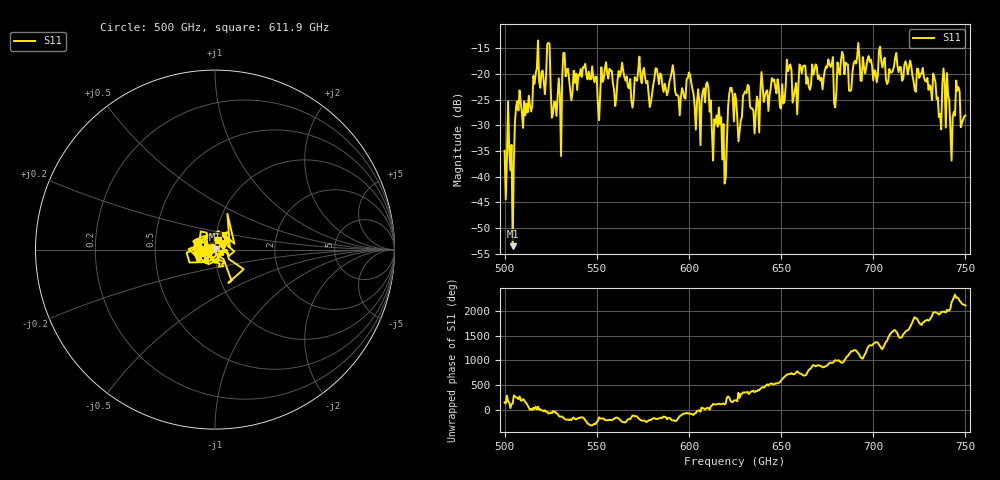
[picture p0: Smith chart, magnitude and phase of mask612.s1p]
!Created with skrf (http://scikit-rf.org).
# GHz S MA R 50.0
!freq magS11 angS11
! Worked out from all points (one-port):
!   401 points, 500 GHz to 750 GHz, reference 50 ohm
!   lowest |S11| = -53.5 dB at 504.4 GHz (marker M1), VSWR 1.00, Z = 49.9 + j0.157 ohm
!   |S11| at or under -10 dB: start of sweep to end of sweep
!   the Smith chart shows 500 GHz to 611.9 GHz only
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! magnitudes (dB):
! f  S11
! 500 GHz  -35.0
! 504.4 GHz  -53.5
! 506.9 GHz  -25.3
! 513.8 GHz  -26.2
! 516.9 GHz  -19.9
! 523.8 GHz  -14.0
! 526.9 GHz  -25.5
! 531.2 GHz  -20.6
! 533.1 GHz  -20.5
! 550.6 GHz  -26.1
! 562.5 GHz  -20.5
! 579.4 GHz  -25.5
! 590.6 GHz  -19.7
! 593.8 GHz  -24.1
! 600 GHz  -19.8
! 605 GHz  -23.0
! 609.4 GHz  -22.0
! 619.4 GHz  -41.3
! 622.5 GHz  -22.7
! 625 GHz  -23.9
! 627.5 GHz  -31.2
! 631.2 GHz  -23.7
! 636.9 GHz  -24.4
! 656.2 GHz  -25.6
! 687.5 GHz  -23.4
! 691.2 GHz  -16.9
! 718.8 GHz  -20.1
! 750 GHz  -28.1
